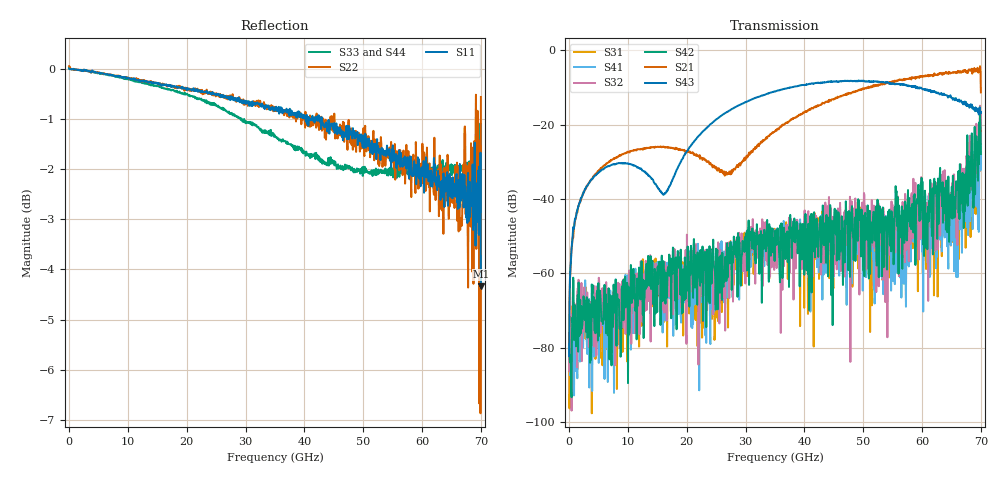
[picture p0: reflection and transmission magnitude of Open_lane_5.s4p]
! 4/13/2026 10:53:58 AM
! C:\ANRITSUVNA\DATA\SARA\2026-04-13 T5 MZDRV\DEEMB STRUCTURES\OPEN_2.S4P
! CHANNEL.1
! TR.MEASUREMENT
! CORRECTED.DATA
! RF.CORRECTION: FULL.FOUR.PORT.CAL.PORT.1.2.3.4
! AVERAGING.OFF
! IF.BANDWIDTH: 1KHZ
! SWEEPTYPE:  FREQ.SWEEP(Linear)
! Reference Plane Port Info
! PORT:  PORT1  PORT2  PORT3  PORT4
! DISTANCE:  0  m  0  m  0  m  0  m
! TIME:  0  s  0  s  0  s  0  s
! PHASE.OFFSET:  0 °  0 °  0 °  0 °
! LOSS:  0  dB  0  dB  0  dB  0  dB
! REF.LOSS:  0  dB  0  dB  0  dB  0  dB
! REF.FREQ:  0  Hz  0  Hz  0  Hz  0  Hz
! Power Info
! POWER:  -20  dBm  -20  dBm  -20  dBm  -20  dBm
! EFF.POWER:  -20  dBm  -20  dBm  -20  dBm  -20  dBm
! SOURCE.ATTEN:  0  dB  0  dB  0  dB  0  dB
! TEST.ATTEN:  0  dB  0  dB  0  dB  0  dB
# HZ S DB R 50.0
! FREQ.HZ  S11DB  S11A  S12DB  S12A  S13DB  S13A  S14DB  S14A
!  S21DB  S21A  S22DB  S22A  S23DB  S23A  S24DB  S24A
!  S31DB  S31A  S32DB  S32A  S33DB  S33A  S34DB  S34A
!  S41DB  S41A  S42DB  S42A  S43DB  S43A  S44DB  S44A
!; PortSelection: Port_1234
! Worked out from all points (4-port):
!   1001 points, 10 MHz to 70 GHz, reference 50 ohm
!   strongest paths, dB at 10 MHz, 17.51 GHz, 35.01 GHz, 52.5 GHz, 70 GHz:
!     S43: -82.3, -35.2, -11.0, -8.3, -16.5
!     S21: -78.7, -26.3, -21.7, -9.3, -11.3
!     S42: -77.7, -59.8, -48.6, -45.5, -27.9
!     S32: -82.6, -61.7, -49.6, -47.0, -16.6
!     S41: -79.9, -57.0, -49.5, -49.4, -25.7
!     S31: -78.7, -63.2, -57.7, -54.4, -17.8
!   lowest |S11| = -4.3 dB at 70 GHz (marker M1), VSWR 4.09, Z = 12.4 - j5.95 ohm
!   |S11| at or under -10 dB: nowhere
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1e7  0.01 -0.0  -89.02 -159.2  -83.36 23.2  -91.21 156.1
     -78.70 97.2  0.06 0.1  -111.43 -30.0  -79.53 -77.0
     -78.67 131.5  -82.60 -93.8  0.03 0.0  -80.34 76.3
     -79.89 -97.2  -77.72 18.2  -82.29 105.1  0.01 0.0
1.75975e9  -0.02 -4.0  -41.25 85.0  -77.43 59.5  -75.76 -19.1
           -41.26 87.0  -0.02 -3.9  -87.26 -52.4  -90.29 110.5
           -66.98 -172.3  -71.31 -86.2  -0.02 -6.9  -41.27 83.8
           -68.71 138.8  -76.87 162.9  -41.03 85.0  -0.02 -6.8
8.12884e9  -0.13 -17.4  -28.68 76.1  -69.39 -45.7  -83.75 -112.4
           -28.87 76.3  -0.13 -17.3  -89.62 -137.2  -71.59 -6.3
           -91.17 -119.3  -64.22 106.6  -0.16 -30.8  -30.43 63.8
           -78.62 6.9  -66.57 -46.4  -30.43 63.5  -0.16 -30.7
2.618626e10  -0.56 -55.1  -32.97 96.6  -57.39 -76.6  -72.42 -25.5
             -33.11 95.2  -0.51 -54.9  -66.41 -159.1  -60.69 148.1
             -59.77 -134.4  -58.49 106.4  -0.79 -101.1  -17.19 156.5
             -60.42 -135.5  -63.20 -146.1  -17.23 156.6  -0.85 -100.0
5.404228e10  -1.52 -119.6  -8.73 145.7  -57.67 -135.5  -57.13 -22.7
             -8.81 144.1  -1.69 -119.9  -62.33 135.0  -51.43 47.1
             -53.07 -29.2  -46.68 97.2  -2.12 152.0  -8.69 63.6
             -45.50 53.0  -58.97 71.8  -8.48 63.7  -2.04 153.5
6.587059e10  -2.09 -147.1  -6.18 123.6  -48.43 -126.2  -50.62 126.1
             -5.88 123.7  -2.41 -147.7  -46.71 173.7  -56.81 178.8
             -44.11 -36.7  -50.62 163.0  -2.02 110.4  -13.44 26.0
             -43.71 -22.9  -37.05 -143.2  -13.32 24.8  -1.88 112.2
7e10  -4.34 -165.6  -10.25 164.4  -60.89 30.0  -41.28 136.5
      -11.31 153.5  -0.55 -54.3  -51.00 -141.0  -38.66 -114.3
      -17.83 29.8  -16.56 86.7  -3.47 92.4  -16.93 15.3
      -25.74 -87.2  -27.89 32.0  -16.52 6.8  -1.37 90.9
